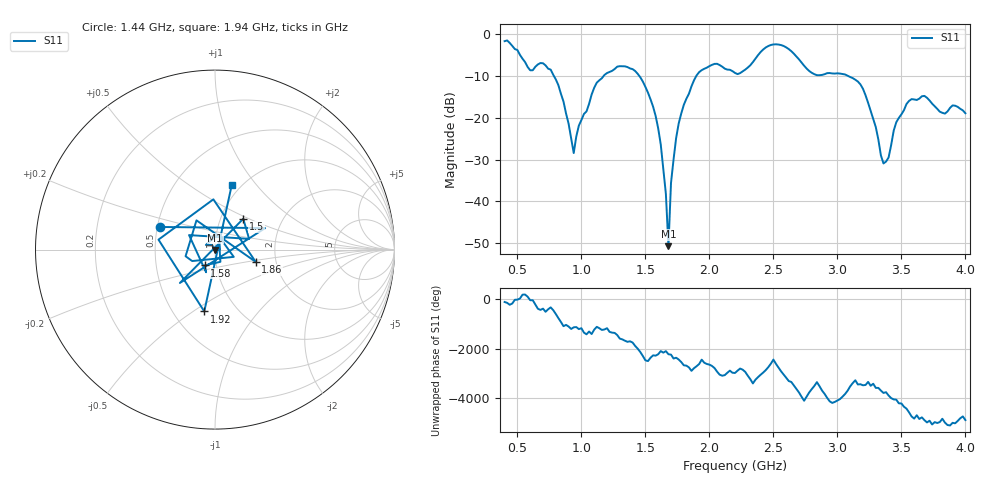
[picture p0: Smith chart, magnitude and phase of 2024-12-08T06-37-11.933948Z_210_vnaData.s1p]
!Created with skrf (http://scikit-rf.org).
# Hz S RI R 50.0
!freq ReS11 ImS11
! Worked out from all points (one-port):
!   181 points, 400 MHz to 4 GHz, reference 50 ohm
!   lowest |S11| = -50.7 dB at 1.68 GHz (marker M1), VSWR 1.01, Z = 50.1 - j0.269 ohm
!   |S11| at or under -10 dB: 784.4 MHz to 1.175 GHz (390.4 MHz wide, 39.9 % of centre); 1.451 GHz to 1.898 GHz (446.9 MHz wide, 26.7 % of centre); 3.08 GHz to end of sweep
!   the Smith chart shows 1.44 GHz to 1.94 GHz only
!   S11 on the Smith chart (normalised r, x): 1.44 GHz: 0.51, +0.15; 1.5 GHz: 1.28, +0.46; 1.58 GHz: 0.88, -0.16; 1.86 GHz: 1.57, -0.23; 1.92 GHz: 0.71, -0.56; 1.94 GHz: 0.91, +0.75
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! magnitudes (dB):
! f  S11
! 400 MHz  -1.7
! 600 MHz  -8.7
! 760 MHz  -8.5
! 860 MHz  -16.1
! 940 MHz  -28.5
! 980 MHz  -21.9
! 1.12 GHz  -11.6
! 1.3 GHz  -7.7
! 1.44 GHz  -9.5
! 1.5 GHz  -12.7
! 1.58 GHz  -19.6
! 1.62 GHz  -26.4
! 1.66 GHz  -38.2
! 1.68 GHz  -50.7
! 1.7 GHz  -35.6
! 1.76 GHz  -21.4
! 1.86 GHz  -12.5
! 1.92 GHz  -9.1
! 1.94 GHz  -8.7
! 2.2 GHz  -9.3
! 2.48 GHz  -2.6
! 2.66 GHz  -4.7
! 2.82 GHz  -9.6
! 3.1 GHz  -10.3
! 3.22 GHz  -14.7
! 3.36 GHz  -30.9
! 3.56 GHz  -16.0
! 4 GHz  -18.9
